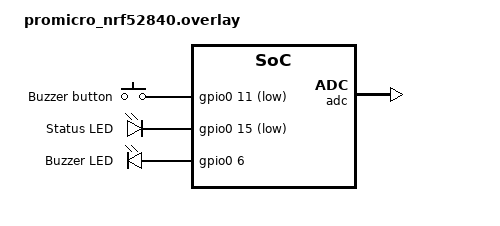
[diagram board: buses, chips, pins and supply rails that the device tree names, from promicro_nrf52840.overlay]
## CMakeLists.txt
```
# CMakeLists.txt for Quiz Buzzer Firmware
cmake_minimum_required(VERSION 3.20.0)

find_package(Zephyr REQUIRED HINTS $ENV{ZEPHYR_BASE})
project(quiz_buzzer_firmware)

target_sources(app PRIVATE 
    src/main.c
    src/buzzer_service.c
    src/button.c
    src/led.c
    src/battery.c
)

target_include_directories(app PRIVATE src)
```

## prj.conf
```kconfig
# Zephyr Project Configuration for Quiz Buzzer

# Enable Bluetooth
CONFIG_BT=y
CONFIG_BT_PERIPHERAL=y

# Use Nordic SoftDevice Controller (required for Nice!Nano with S140)
CONFIG_BT_LL_SOFTDEVICE=y

# BLE Settings
CONFIG_BT_GATT_AUTO_SEC_REQ=n
CONFIG_BT_PRIVACY=n
CONFIG_BT_MAX_CONN=1
CONFIG_BT_MAX_PAIRED=1

# Connection parameters for low latency
CONFIG_BT_PERIPHERAL_PREF_MIN_INT=8
CONFIG_BT_PERIPHERAL_PREF_MAX_INT=12
CONFIG_BT_PERIPHERAL_PREF_LATENCY=0
CONFIG_BT_PERIPHERAL_PREF_TIMEOUT=400

# Battery service (BLE standard battery reporting)
CONFIG_BT_BAS=y

# GPIO
CONFIG_GPIO=y

# ==================== POWER MANAGEMENT (Battery Efficiency) ====================

# Enable DC/DC regulator for much better power efficiency
# Note: On nRF52840, DCDC is enabled via board config or devicetree
# The promicro_nrf52840 board should have this enabled by default

# Enable system power management
CONFIG_PM=y

# Low power BLE settings
CONFIG_BT_CONN_TX_MAX=3

# ==================== ADC for Battery Monitoring ====================

# Enable ADC driver
CONFIG_ADC=y
CONFIG_ADC_NRFX_SAADC=y
CONFIG_ADC_ASYNC=n

# System
CONFIG_SYSTEM_WORKQUEUE_STACK_SIZE=2048
CONFIG_MAIN_STACK_SIZE=2048

# Logging (minimal - only errors and warnings)
CONFIG_LOG=y
CONFIG_LOG_DEFAULT_LEVEL=2
CONFIG_PRINTK=y
CONFIG_CONSOLE=y
CONFIG_UART_CONSOLE=y
CONFIG_EARLY_CONSOLE=y

# Bluetooth logging - warnings only (disable debug)
CONFIG_BT_LOG_LEVEL_WRN=y

# Build output - Generate UF2 for bootloader flashing
CONFIG_BUILD_OUTPUT_UF2=y

# Enable dynamic Bluetooth device name (required for bt_set_name to work)
CONFIG_BT_DEVICE_NAME_DYNAMIC=y
CONFIG_BT_DEVICE_NAME_MAX=30
CONFIG_BT_DEVICE_NAME="Gravitee Quiz Buzzer"
```

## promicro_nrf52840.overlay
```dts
/*
 * Device tree overlay for Quiz Buzzer on Nice!Nano / Pro Micro nRF52840
 */

/* Enable DC/DC regulator for power efficiency */
&reg1 {
	regulator-initial-mode = <NRF5X_REG_MODE_DCDC>;
};

/ {
	aliases {
		sw0 = &button0;
		led0 = &status_led;   /* Onboard blue LED (P0.15) for status indication */
		led1 = &buzzer_led;   /* External white LED (P0.06) for buzzer illumination */
	};

	buttons {
		compatible = "gpio-keys";
		button0: button_0 {
			gpios = <&gpio0 11 (GPIO_PULL_UP | GPIO_ACTIVE_LOW)>;
			label = "Buzzer button";
		};
	};

	leds {
		compatible = "gpio-leds";
		/* Onboard red LED on P0.15 for connection status */
		status_led: led_0 {
			gpios = <&gpio0 15 GPIO_ACTIVE_LOW>;
			label = "Status LED";
		};
		/* External white LED on P0.06 (pin 1) for buzzer illumination */
		buzzer_led: led_1 {
			gpios = <&gpio0 6 GPIO_ACTIVE_HIGH>;
			label = "Buzzer LED";
		};
	};

	/* Battery voltage divider for 18650 Li-ion (4.2V max)
	 * Use voltage divider: VBAT -> 1M -> ADC_IN -> 1M -> GND
	 * This gives VBAT/2 to the ADC input (max ~2.1V which is safe for nRF52840)
	 * Connect voltage divider output to P0.31 (AIN7)
	 */
};

/* Enable ADC for battery measurement */
&adc {
	status = "okay";
};
```

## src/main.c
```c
/**
 * Main firmware file for Quiz Buzzer
 * NRF52840 BLE Controller
 * 
 * Optimized for low power with 18650 Li-ion battery
 */

#include <zephyr/kernel.h>
#include <zephyr/bluetooth/bluetooth.h>
#include <zephyr/bluetooth/conn.h>
#include <zephyr/bluetooth/gatt.h>
#include <zephyr/bluetooth/uuid.h>
#include <zephyr/device.h>
#include <zephyr/drivers/gpio.h>
#include <zephyr/pm/pm.h>
#include <zephyr/pm/device.h>

#include "config.h"
#include "buzzer_service.h"
#include "button.h"
#include "led.h"
#include "battery.h"

#define LED_FLASH_DURATION_MS    50   /* Short flash duration */
#define LED_BLINK_DISCONNECTED_MS 2000  /* 2 seconds when disconnected (slower = less power) */
#define LED_BLINK_CONNECTED_MS   5000  /* 5 seconds when connected (very slow) */

/* Connection handle */
static struct bt_conn *current_conn = NULL;

/* Advertising data */
static const struct bt_data ad[] = {
    BT_DATA_BYTES(BT_DATA_FLAGS, (BT_LE_AD_GENERAL | BT_LE_AD_NO_BREDR)),
    BT_DATA_BYTES(BT_DATA_UUID128_ALL, BT_UUID_BUZZER_SERVICE_VAL),
};

/* Status LED (onboard blue LED on P0.15) */
static const struct gpio_dt_spec status_led = GPIO_DT_SPEC_GET(DT_ALIAS(led0), gpios);

/* Buzzer LED (external white LED on P0.06) */
static const struct gpio_dt_spec buzzer_led = GPIO_DT_SPEC_GET(DT_ALIAS(led1), gpios);

/* Timer for LED blinking */
static struct k_timer led_timer;
static bool connection_status = false;

/* Work queue for LED flash (can't use k_sleep in timer handler) */
static struct k_work led_flash_work;

/* Work queue for 3 quick flashes when button pressed while disconnected */
static struct k_work led_triple_flash_work;

/* Work queue for advertising restart (can't do BT ops in disconnect callback) */
static struct k_work adv_restart_work;

/* Forward declarations */
static void update_connection_status(bool connected);
static int start_advertising(void);

/* Connection callbacks */
static void connected(struct bt_conn *conn, uint8_t err)
{
    if (err) {
        printk("Connection failed (err %u)\n", err);
        return;
    }

    printk("Connected\n");
    current_conn = bt_conn_ref(conn);
    update_connection_status(true);
    
    /* Blink buzzer LED 5 times quickly to indicate successful connection */
    for (int i = 0; i < 5; i++) {
        gpio_pin_set_dt(&buzzer_led, 1);
        k_sleep(K_MSEC(100));
        gpio_pin_set_dt(&buzzer_led, 0);
        k_sleep(K_MSEC(100));
    }
}

static void disconnected(struct bt_conn *conn, uint8_t reason)
{
    printk("Disconnected (reason %u)\n", reason);

    if (current_conn) {
        bt_conn_unref(current_conn);
        current_conn = NULL;
    }

    update_connection_status(false);

    /* Schedule advertising restart - must be done outside BT callback context */
    k_work_submit(&adv_restart_work);
}

BT_CONN_CB_DEFINE(conn_callbacks) = {
    .connected = connected,
    .disconnected = disconnected,
};

/* Work handler for advertising restart */
static void adv_restart_work_handler(struct k_work *work)
{
    ARG_UNUSED(work);
    int err;

    printk("Restarting advertising from work queue...\n");

    /* Small delay to let BT stack settle */
    k_sleep(K_MSEC(100));
    
    err = start_advertising();
    if (err && err != -EALREADY) {
        printk("Failed to restart advertising (err %d)\n", err);
    } else {
        printk("Advertising restarted successfully\n");
    }
}

/* Start advertising */
static int start_advertising(void)
{
    struct bt_le_adv_param adv_param = {
        .id = BT_ID_DEFAULT,
        .options = BT_LE_ADV_OPT_CONN | BT_LE_ADV_OPT_USE_NAME,
        .interval_min = ADV_INTERVAL_MIN,
        .interval_max = ADV_INTERVAL_MAX,
    };

    int err = bt_le_adv_start(&adv_param, ad, ARRAY_SIZE(ad), NULL, 0);
    if (err == -EALREADY) {
        printk("Advertising already active\n");
        return 0;
    }
    if (err) {
        printk("Advertising failed to start (err %d)\n", err);
        return err;
    }

    printk("Advertising started\n");
    return 0;
}

/* Button press callback */
static void button_pressed_callback(bool pressed)
{
    printk("Button %s\n", pressed ? "PRESSED" : "RELEASED");
    
    /* Only act on button press (push down), not release */
    if (!pressed) {
        return;
    }
    
    if (current_conn) {
        printk("Sending button press to BLE client\n");
        buzzer_service_send_button_state(pressed);
    } else {
        /* When disconnected: 3 quick flashes */
        printk("No BLE connection - triggering 3 quick flashes\n");
        k_work_submit(&led_triple_flash_work);
    }
}

/* LED flash work handler - runs in system workqueue context where k_sleep is allowed */
static void led_flash_work_handler(struct k_work *work)
{
    ARG_UNUSED(work);
    
    /* Short flash ON for status LED
     * Status LED is active-low hardware:
     * gpio_pin_set(port, pin, 0) = pin LOW = LED ON
     * gpio_pin_set(port, pin, 1) = pin HIGH = LED OFF
     */
    gpio_pin_set(status_led.port, status_led.pin, 0);  /* ON (low) */
    
    /* Also flash buzzer LED when disconnected (active-high, so 1=ON) */
    if (!connection_status) {
        gpio_pin_set_dt(&buzzer_led, 1);  /* ON */
    }
    
    k_sleep(K_MSEC(LED_FLASH_DURATION_MS));
    
    gpio_pin_set(status_led.port, status_led.pin, 1);  /* OFF (high) */
    if (!connection_status) {
        gpio_pin_set_dt(&buzzer_led, 0);  /* OFF */
    }
}

/* LED triple flash work handler - 3 quick flashes when button pressed while disconnected */
static void led_triple_flash_work_handler(struct k_work *work)
{
    ARG_UNUSED(work);
    
    for (int i = 0; i < 3; i++) {
        gpio_pin_set_dt(&buzzer_led, 1);  /* ON */
        k_sleep(K_MSEC(100));
        gpio_pin_set_dt(&buzzer_led, 0);  /* OFF */
        if (i < 2) {
            k_sleep(K_MSEC(100));  /* Gap between flashes, but not after the last one */
        }
    }
}

/* LED timer handler - just schedules work, can't sleep in timer context */
static void led_timer_handler(struct k_timer *timer)
{
    ARG_UNUSED(timer);
    
    /* Schedule the flash work - this runs in thread context where k_sleep is OK */
    k_work_submit(&led_flash_work);
}

static void update_connection_status(bool connected)
{
    connection_status = connected;
    
    /* Stop current timer and restart with appropriate interval */
    k_timer_stop(&led_timer);
    
    if (connected) {
        /* Slow blink when connected (every 3 seconds) */
        k_timer_start(&led_timer, K_MSEC(LED_BLINK_CONNECTED_MS), K_MSEC(LED_BLINK_CONNECTED_MS));
        printk("Status LED: connected mode (3s interval)\n");
    } else {
        /* Fast blink when disconnected (every 1 second) */
        k_timer_start(&led_timer, K_MSEC(LED_BLINK_DISCONNECTED_MS), K_MSEC(LED_BLINK_DISCONNECTED_MS));
        printk("Status LED: disconnected mode (1s interval)\n");
    }
}

/* Set Bluetooth device name based on buzzer ID - must be called AFTER bt_enable() */
static void set_bt_device_name(void)
{
    int err = bt_set_name(DEVICE_NAME);
    if (err) {
        printk("Failed to set Bluetooth device name: %d\n", err);
    } else {
        printk("Bluetooth device name set to: %s\n", DEVICE_NAME);
        const char *current_name = bt_get_name();
        printk("Current Bluetooth device name: %s\n", current_name);
    }
}

/* Main function */
int main(void)
{
    int err;

    printk("Starting Quiz Buzzer Firmware (Buzzer ID: %d)\n", BUZZER_ID);

    /* Initialize status LED first (onboard blue LED) - start OFF */
    if (!device_is_ready(status_led.port)) {
        printk("Status LED device not ready\n");
        return -1;
    }
    gpio_pin_configure_dt(&status_led, GPIO_OUTPUT);  /* Configure as output */
    gpio_pin_set(status_led.port, status_led.pin, 1);  /* Start OFF (high = LED off for active-low) */
    printk("Status LED initialized on P0.15 (OFF)\n");

    /* Initialize buzzer LED (external white LED) */
    if (!device_is_ready(buzzer_led.port)) {
        printk("Buzzer LED device not ready\n");
        return -1;
    }
    gpio_pin_configure_dt(&buzzer_led, GPIO_OUTPUT_INACTIVE);
    printk("Buzzer LED initialized on P0.06\n");

    /* Initialize LED module (for led_on/led_off functions) */
    err = led_init();
    if (err) {
        printk("LED init failed (err %d)\n", err);
        return err;
    }

    /* Test buzzer LED at startup */
    printk("Testing Buzzer LED...\n");
    gpio_pin_set_dt(&buzzer_led, 1);
    k_sleep(K_MSEC(500));
    gpio_pin_set_dt(&buzzer_led, 0);
    printk("Buzzer LED test complete\n");

    /* Startup LED sequence - blink status LED 5 times to confirm flash worked */
    printk("Startup LED sequence...\n");
    for (int i = 0; i < 5; i++) {
        gpio_pin_set(status_led.port, status_led.pin, 0);  /* ON (low) */
        k_sleep(K_MSEC(100));
        gpio_pin_set(status_led.port, status_led.pin, 1);  /* OFF (high) */
        k_sleep(K_MSEC(100));
    }
    printk("Startup LED sequence complete\n");

    /* Initialize button */
    err = button_init(button_pressed_callback);
    if (err) {
        printk("Button init failed (err %d) - continuing without button\n", err);
    }

    /* Enable Bluetooth */
    err = bt_enable(NULL);
    if (err) {
        printk("Bluetooth init failed (err %d)\n", err);
        return err;
    }

    printk("Bluetooth initialized\n");

    /* Set Bluetooth device name - MUST be called AFTER bt_enable() */
    set_bt_device_name();

    /* Initialize buzzer service */
    err = buzzer_service_init();
    if (err) {
        printk("Buzzer service init failed (err %d)\n", err);
        return err;
    }

    /* Initialize battery monitoring AFTER BLE is ready
     * This ensures bt_bas_set_battery_level() works correctly
     */
    err = battery_init();
    if (err) {
        printk("Battery init failed (err %d) - continuing without battery monitoring\n", err);
    }

    /* Start advertising */
    err = start_advertising();
    if (err) {
        return err;
    }

    /* Initialize work queues and LED timer */
    k_work_init(&led_flash_work, led_flash_work_handler);
    k_work_init(&led_triple_flash_work, led_triple_flash_work_handler);
    k_work_init(&adv_restart_work, adv_restart_work_handler);
    k_timer_init(&led_timer, led_timer_handler, NULL);
    k_timer_start(&led_timer, K_MSEC(LED_BLINK_DISCONNECTED_MS), K_MSEC(LED_BLINK_DISCONNECTED_MS));

    printk("Quiz Buzzer ready - advertising as: %s\n", bt_get_name());

    /* Main loop - use longer sleep for power efficiency
     * The system will wake on:
     * - BLE events (connection, disconnection)
     * - Button press interrupts
     * - Timer expiry (LED blink)
     */
    while (1) {
        /* Sleep for 10 seconds - Zephyr will enter low power mode
         * Events (BLE, GPIO interrupts, timers) will wake the CPU
         */
        k_sleep(K_SECONDS(10));
        
        /* Update battery level periodically (rate-limited in battery_update) */
        battery_update();
    }

    return 0;
}
```

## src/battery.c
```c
/**
 * Battery monitoring implementation for Nice!Nano / Pro Micro nRF52840
 * 
 * Uses the nRF52840's internal VDDHDIV5 channel which measures VDDH/5.
 * This is the correct approach for boards where the battery connects
 * directly to VDDH (like Nice!Nano V2).
 * 
 * Based on ZMK's battery_nrf_vddh driver:
 * https://github.com/zmkfirmware/zmk/blob/main/app/module/drivers/sensor/battery/battery_nrf_vddh.c
 */

#include <zephyr/kernel.h>
#include <zephyr/device.h>
#include <zephyr/devicetree.h>
#include <zephyr/drivers/adc.h>
#include <zephyr/bluetooth/services/bas.h>

#include "config.h"
#include "battery.h"

/* VDDHDIV5: internal channel that measures VDDH divided by 5 */
#define VDDHDIV 5

/* ADC device */
#define ADC_NODE DT_NODELABEL(adc)
static const struct device *adc_dev = DEVICE_DT_GET(ADC_NODE);

/* ADC channel configuration for VDDHDIV5
 * Using 1/2 gain with internal 0.6V reference:
 * Full scale = 0.6V * 2 = 1.2V at ADC input
 * VDDHDIV5 input = VDDH / 5
 * So max VDDH we can measure = 1.2V * 5 = 6V (plenty for 4.2V Li-ion)
 */
static struct adc_channel_cfg adc_cfg = {
    .gain = ADC_GAIN_1_2,
    .reference = ADC_REF_INTERNAL,
    .acquisition_time = ADC_ACQ_TIME(ADC_ACQ_TIME_MICROSECONDS, 40),
    .channel_id = 0,  /* VDDHDIV5 uses channel 0 */
#if defined(CONFIG_ADC_NRFX_SAADC)
    .input_positive = SAADC_CH_PSELN_PSELN_VDDHDIV5,
#endif
};

/* ADC sample buffer and sequence */
static int16_t adc_raw;
static struct adc_sequence adc_seq = {
    .channels = BIT(0),
    .buffer = &adc_raw,
    .buffer_size = sizeof(adc_raw),
    .resolution = 12,
    .oversampling = 4,  /* 4x oversampling for better accuracy */
    .calibrate = true,  /* Calibrate on first read */
};

/* State */
static uint8_t battery_level = 100;
static int32_t battery_mv = 0;
static int64_t last_update_time = 0;
static bool adc_initialized = false;
static bool first_reading = true;

/**
 * Convert battery millivolts to percentage (0-100%)
 * Uses Li-ion discharge curve based on ZMK's implementation
 */
static uint8_t lithium_ion_mv_to_pct(int16_t bat_mv)
{
    /* Li-ion voltage thresholds */
    if (bat_mv >= 4200) {
        return 100;
    } else if (bat_mv <= 3450) {
        return 0;
    }

    /* Piece-wise linear approximation of Li-ion discharge curve */
    if (bat_mv >= 4100) {
        /* 4100-4200mV: 90-100% */
        return 90 + (bat_mv - 4100) / 10;
    } else if (bat_mv >= 4000) {
        /* 4000-4100mV: 70-90% */
        return 70 + (bat_mv - 4000) / 5;
    } else if (bat_mv >= 3850) {
        /* 3850-4000mV: 40-70% */
        return 40 + (bat_mv - 3850) * 30 / 150;
    } else if (bat_mv >= 3700) {
        /* 3700-3850mV: 20-40% */
        return 20 + (bat_mv - 3700) * 20 / 150;
    } else if (bat_mv >= 3550) {
        /* 3550-3700mV: 5-20% */
        return 5 + (bat_mv - 3550) * 15 / 150;
    } else {
        /* 3450-3550mV: 0-5% */
        return (bat_mv - 3450) * 5 / 100;
    }
}

int battery_init(void)
{
    int rc;
    
    if (!device_is_ready(adc_dev)) {
        printk("ADC device not ready, battery monitoring disabled\n");
        battery_level = 100;
        return 0;  /* Non-critical, continue without ADC */
    }

    /* Setup ADC channel for VDDHDIV5 */
    rc = adc_channel_setup(adc_dev, &adc_cfg);
    if (rc) {
        printk("ADC channel setup failed (err %d)\n", rc);
        battery_level = 100;
        return 0;  /* Non-critical */
    }

    adc_initialized = true;
    printk("Battery monitoring initialized (VDDHDIV5 internal channel)\n");
    printk("ADC: 1/2 gain, internal 0.6V ref, 12-bit, 4x oversampling\n");
    printk("VDDH range: 0-6V (divider=5), suitable for Li-ion 3.0-4.2V\n");
    
    /* Small delay for ADC to stabilize */
    k_sleep(K_MSEC(10));
    
    /* Force initial battery reading */
    last_update_time = 0;
    battery_update();
    
    printk("Initial battery: %dmV, %d%%\n", battery_mv, battery_level);
    
    return 0;
}

void battery_update(void)
{
    int rc;
    int64_t now = k_uptime_get();
    
    /* Skip if ADC not initialized */
    if (!adc_initialized) {
        return;
    }
    
    /* Rate limit updates (except for first reading) */
    if (!first_reading && 
        (now - last_update_time) < BATTERY_UPDATE_INTERVAL_MS) {
        return;
    }
    
    last_update_time = now;
    
    /* Perform ADC read */
    rc = adc_read(adc_dev, &adc_seq);
    
    /* Disable calibration after first read */
    adc_seq.calibrate = false;
    
    if (rc < 0) {
        printk("ADC read failed (err %d)\n", rc);
        return;
    }

    /* Convert raw ADC value to millivolts
     * 
     * Using adc_raw_to_millivolts() which:
     * 1. Takes the reference voltage (600mV internal)
     * 2. Accounts for the gain (1/2 gain -> multiply by 2)
     * 3. Converts based on resolution (12-bit = 4096)
     */
    int32_t val = adc_raw;
    rc = adc_raw_to_millivolts(adc_ref_internal(adc_dev), 
                               adc_cfg.gain,
                               adc_seq.resolution, 
                               &val);
    if (rc < 0) {
        printk("ADC conversion failed (err %d)\n", rc);
        return;
    }

    /* Multiply by VDDHDIV to get actual VDDH voltage */
    battery_mv = val * VDDHDIV;
    
    /* Convert to percentage */
    uint8_t new_level = lithium_ion_mv_to_pct(battery_mv);
    
    /* Apply some hysteresis to avoid constant small changes */
    int diff = (int)new_level - (int)battery_level;
    if (first_reading || diff >= 2 || diff <= -2) {
        battery_level = new_level;
    }
    
    /* Update BLE Battery Service */
    rc = bt_bas_set_battery_level(battery_level);
    if (rc && rc != -ENOTCONN) {
        printk("Failed to update BAS (err %d)\n", rc);
    }
    
    /* Debug output */
    printk("Battery: raw=%d, adc_mv=%d, vddh_mv=%d, level=%d%%\n",
           adc_raw, val, battery_mv, battery_level);
    
    first_reading = false;
}

uint8_t battery_get_level(void)
{
    return battery_level;
}

int32_t battery_get_voltage_mv(void)
{
    return battery_mv;
}
```

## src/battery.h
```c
/**
 * Battery monitoring module for 18650 Li-ion battery
 * 
 * Measures battery voltage via ADC with voltage divider on P0.31 (AIN7)
 */

#ifndef BATTERY_H
#define BATTERY_H

#include <zephyr/types.h>

/**
 * Initialize battery monitoring
 * Sets up ADC for battery voltage measurement
 * 
 * @return 0 on success, negative errno on failure
 */
int battery_init(void);

/**
 * Update battery level
 * Reads ADC and updates BLE battery service
 * Rate-limited to save power (default: every 5 minutes)
 */
void battery_update(void);

/**
 * Get current battery level percentage
 * 
 * @return Battery level (0-100%)
 */
uint8_t battery_get_level(void);

/**
 * Get raw battery voltage in millivolts
 * Useful for debugging and calibration
 * 
 * @return Battery voltage in mV, or -1 if ADC not available
 */
int32_t battery_get_voltage_mv(void);

#endif /* BATTERY_H */
```

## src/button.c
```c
/**
 * Button handling implementation with debouncing
 */

#include <zephyr/kernel.h>
#include <zephyr/device.h>
#include <zephyr/drivers/gpio.h>

#include "config.h"
#include "button.h"

#define BUTTON_NODE DT_ALIAS(sw0)

#if !DT_NODE_EXISTS(BUTTON_NODE)
/* Fallback to manual GPIO configuration if device tree alias doesn't exist */
#define BUTTON_GPIO_LABEL "GPIO_0"
#define BUTTON_GPIO_PIN BUTTON_PIN
#define BUTTON_GPIO_FLAGS (GPIO_INPUT | GPIO_PULL_UP)
#else
static const struct gpio_dt_spec button = GPIO_DT_SPEC_GET(BUTTON_NODE, gpios);
#endif

static struct gpio_callback button_cb_data;
static button_callback_t user_callback = NULL;

/* Debounce timer */
static struct k_timer debounce_timer;
static bool last_button_state = false;
static bool debounce_in_progress = false;

/* Debounce timer expiry callback */
static void debounce_timer_handler(struct k_timer *timer)
{
    ARG_UNUSED(timer);
    
    debounce_in_progress = false;
    
    /* Read actual button state after debounce period */
#if DT_NODE_EXISTS(BUTTON_NODE)
    /* gpio_pin_get_dt() already handles GPIO_ACTIVE_LOW flag:
     * Returns 1 when button is pressed (active), 0 when released */
    int raw_value = gpio_pin_get_dt(&button);
    bool current_state = (raw_value == 1);  /* 1 = pressed (active) */
    printk("Button debounce: raw=%d, state=%s\n", raw_value, current_state ? "pressed" : "released");
#else
    const struct device *gpio_dev = device_get_binding(BUTTON_GPIO_LABEL);
    int raw_value = gpio_pin_get(gpio_dev, BUTTON_GPIO_PIN);
    bool current_state = (raw_value == 0);  /* Manual config: active low, 0 = pressed */
    printk("Button debounce: raw=%d, state=%s\n", raw_value, current_state ? "pressed" : "released");
#endif
    
    /* Only trigger callback if state actually changed */
    if (current_state != last_button_state) {
        last_button_state = current_state;
        printk("Button state changed to: %s\n", current_state ? "PRESSED" : "RELEASED");
        
        if (user_callback) {
            user_callback(current_state);
        }
    }
}

/* GPIO interrupt handler */
static void button_pressed_handler(const struct device *dev, 
                                   struct gpio_callback *cb, 
                                   uint32_t pins)
{
    ARG_UNUSED(dev);
    ARG_UNUSED(cb);
    ARG_UNUSED(pins);
    
    printk("Button IRQ triggered! pins=0x%08x\n", pins);
    
    /* Start debounce timer if not already in progress */
    if (!debounce_in_progress) {
        debounce_in_progress = true;
        k_timer_start(&debounce_timer, K_MSEC(BUTTON_DEBOUNCE_MS), K_NO_WAIT);
        printk("Debounce timer started\n");
    }
}

int button_init(button_callback_t callback)
{
    int ret;
    
    if (!callback) {
        return -EINVAL;
    }
    
    user_callback = callback;

#if DT_NODE_EXISTS(BUTTON_NODE)
    /* Use device tree configuration */
    if (!device_is_ready(button.port)) {
        printk("Button device not ready\n");
        return -ENODEV;
    }

    ret = gpio_pin_configure_dt(&button, GPIO_INPUT);
    if (ret < 0) {
        printk("Failed to configure button pin\n");
        return ret;
    }

    ret = gpio_pin_interrupt_configure_dt(&button, GPIO_INT_EDGE_BOTH);
    if (ret < 0) {
        printk("Failed to configure button interrupt\n");
        return ret;
    }

    gpio_init_callback(&button_cb_data, button_pressed_handler, BIT(button.pin));
    gpio_add_callback(button.port, &button_cb_data);
#else
    /* Manual GPIO configuration - use modern API */
    const struct device *gpio_dev = DEVICE_DT_GET(DT_NODELABEL(gpio0));
    if (!device_is_ready(gpio_dev)) {
        printk("GPIO device not ready\n");
        return -ENODEV;
    }

    ret = gpio_pin_configure(gpio_dev, BUTTON_GPIO_PIN, BUTTON_GPIO_FLAGS);
    if (ret < 0) {
        printk("Failed to configure button pin\n");
        return ret;
    }

    ret = gpio_pin_interrupt_configure(gpio_dev, BUTTON_GPIO_PIN, GPIO_INT_EDGE_BOTH);
    if (ret < 0) {
        printk("Failed to configure button interrupt\n");
        return ret;
    }

    gpio_init_callback(&button_cb_data, button_pressed_handler, BIT(BUTTON_GPIO_PIN));
    gpio_add_callback(gpio_dev, &button_cb_data);
#endif

    /* Initialize debounce timer */
    k_timer_init(&debounce_timer, debounce_timer_handler, NULL);

#if DT_NODE_EXISTS(BUTTON_NODE)
    /* Read initial button state */
    int initial_state = gpio_pin_get_dt(&button);
    printk("Button initialized on P0.%d (pin=%d, initial_state=%d)\n", 
           button.pin, button.pin, initial_state);
#else
    printk("Button initialized on pin %d (manual config)\n", BUTTON_GPIO_PIN);
#endif
    
    return 0;
}
```

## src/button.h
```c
/**
 * Button handling module
 */

#ifndef BUTTON_H
#define BUTTON_H

#include <zephyr/types.h>

/**
 * Button press callback function type
 * 
 * @param pressed true when button is pressed, false when released
 */
typedef void (*button_callback_t)(bool pressed);

/**
 * Initialize button GPIO and configure interrupt
 * 
 * @param callback Function to call when button state changes
 * @return 0 on success, negative errno on failure
 */
int button_init(button_callback_t callback);

#endif /* BUTTON_H */
```

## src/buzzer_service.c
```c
/**
 * BLE GATT Service Implementation for Quiz Buzzer
 */

#include <zephyr/kernel.h>
#include <zephyr/bluetooth/bluetooth.h>
#include <zephyr/bluetooth/conn.h>
#include <zephyr/bluetooth/gatt.h>
#include <zephyr/bluetooth/uuid.h>

#include "config.h"
#include "buzzer_service.h"
#include "led.h"

/* Service UUID */
static struct bt_uuid_128 buzzer_service_uuid = BT_UUID_INIT_128(
    BT_UUID_BUZZER_SERVICE_VAL);

/* Characteristic UUIDs */
static struct bt_uuid_128 button_state_uuid = BT_UUID_INIT_128(
    BT_UUID_BUTTON_STATE_VAL);

static struct bt_uuid_128 led_control_uuid = BT_UUID_INIT_128(
    BT_UUID_LED_CONTROL_VAL);

static struct bt_uuid_128 buzzer_id_uuid = BT_UUID_INIT_128(
    BT_UUID_BUZZER_ID_VAL);

/* Characteristic values */
static uint8_t button_state = 0;
static uint8_t led_rgb[3] = {0, 0, 0};
static uint8_t buzzer_id = BUZZER_ID;

/* CCC (Client Characteristic Configuration) for notifications */
static uint8_t button_state_notify_enabled = 0;

/* Button state CCC changed callback */
static void button_state_ccc_changed(const struct bt_gatt_attr *attr, uint16_t value)
{
    button_state_notify_enabled = (value == BT_GATT_CCC_NOTIFY);
    printk("Button state notifications %s\n", 
           button_state_notify_enabled ? "enabled" : "disabled");
}

/* Button state read callback */
static ssize_t read_button_state(struct bt_conn *conn,
                                  const struct bt_gatt_attr *attr,
                                  void *buf, uint16_t len, uint16_t offset)
{
    return bt_gatt_attr_read(conn, attr, buf, len, offset, 
                            &button_state, sizeof(button_state));
}

/* LED control write callback */
static ssize_t write_led_control(struct bt_conn *conn,
                                  const struct bt_gatt_attr *attr,
                                  const void *buf, uint16_t len,
                                  uint16_t offset, uint8_t flags)
{
    if (offset != 0) {
        return BT_GATT_ERR(BT_ATT_ERR_INVALID_OFFSET);
    }

    if (len != 3) {
        return BT_GATT_ERR(BT_ATT_ERR_INVALID_ATTRIBUTE_LEN);
    }

    memcpy(led_rgb, buf, 3);
    
    /* Update LED */
    if (led_rgb[0] > 128 || led_rgb[1] > 128 || led_rgb[2] > 128) {
        led_on();
    } else {
        led_off();
    }
    printk("LED updated: %s\n", (led_rgb[0] > 128 || led_rgb[1] > 128 || led_rgb[2] > 128) ? "ON" : "OFF");

    return len;
}

/* LED control read callback */
static ssize_t read_led_control(struct bt_conn *conn,
                                 const struct bt_gatt_attr *attr,
                                 void *buf, uint16_t len, uint16_t offset)
{
    return bt_gatt_attr_read(conn, attr, buf, len, offset, 
                            led_rgb, sizeof(led_rgb));
}

/* Buzzer ID read callback */
static ssize_t read_buzzer_id(struct bt_conn *conn,
                               const struct bt_gatt_attr *attr,
                               void *buf, uint16_t len, uint16_t offset)
{
    return bt_gatt_attr_read(conn, attr, buf, len, offset, 
                            &buzzer_id, sizeof(buzzer_id));
}

/* GATT Service Definition */
BT_GATT_SERVICE_DEFINE(buzzer_service,
    BT_GATT_PRIMARY_SERVICE(&buzzer_service_uuid),
    
    /* Button State Characteristic */
    BT_GATT_CHARACTERISTIC(&button_state_uuid.uuid,
                          BT_GATT_CHRC_READ | BT_GATT_CHRC_NOTIFY,
                          BT_GATT_PERM_READ,
                          read_button_state, NULL, NULL),
    BT_GATT_CCC(button_state_ccc_changed, BT_GATT_PERM_READ | BT_GATT_PERM_WRITE),
    
    /* LED Control Characteristic */
    BT_GATT_CHARACTERISTIC(&led_control_uuid.uuid,
                          BT_GATT_CHRC_READ | BT_GATT_CHRC_WRITE,
                          BT_GATT_PERM_READ | BT_GATT_PERM_WRITE,
                          read_led_control, write_led_control, NULL),
    
    /* Buzzer ID Characteristic */
    BT_GATT_CHARACTERISTIC(&buzzer_id_uuid.uuid,
                          BT_GATT_CHRC_READ,
                          BT_GATT_PERM_READ,
                          read_buzzer_id, NULL, NULL),
);

int buzzer_service_init(void)
{
    printk("Buzzer service initialized\n");
    return 0;
}

int buzzer_service_send_button_state(bool pressed)
{
    button_state = pressed ? 1 : 0;
    
    if (!button_state_notify_enabled) {
        return -EACCES;
    }

    int err = bt_gatt_notify(NULL, &buzzer_service.attrs[1], 
                            &button_state, sizeof(button_state));
    if (err) {
        printk("Failed to send button notification (err %d)\n", err);
    }
    
    return err;
}
```

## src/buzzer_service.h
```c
/**
 * BLE GATT Service for Quiz Buzzer
 */

#ifndef BUZZER_SERVICE_H
#define BUZZER_SERVICE_H

#include <zephyr/types.h>

/**
 * Initialize the buzzer GATT service
 * 
 * @return 0 on success, negative errno on failure
 */
int buzzer_service_init(void);

/**
 * Send button state notification to connected client
 * 
 * @param pressed true if button is pressed, false otherwise
 * @return 0 on success, negative errno on failure
 */
int buzzer_service_send_button_state(bool pressed);

#endif /* BUZZER_SERVICE_H */
```

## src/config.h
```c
/**
 * Configuration file for Quiz Buzzer Firmware
 * 
 * Modify these settings based on your hardware setup and requirements
 */

#ifndef CONFIG_H
#define CONFIG_H

/* ==================== BUZZER IDENTIFICATION ==================== */
/**
 * Set buzzer ID: 1 for Green, 2 for Red
 * IMPORTANT: Flash different IDs to each buzzer
 */
#define BUZZER_ID 1  // Change to 2 for Red buzzer

/* Device name will be "Gravitee-Buzzer-Green" or "Gravitee-Buzzer-Red" */
#define DEVICE_NAME_GREEN "Gravitee Quiz Buzzer - Green"
#define DEVICE_NAME_RED   "Gravitee Quiz Buzzer - Red"

// Ensure the device name matches the buzzer ID
#if BUZZER_ID == 1
#define DEVICE_NAME DEVICE_NAME_GREEN
#elif BUZZER_ID == 2
#define DEVICE_NAME DEVICE_NAME_RED
#else
#error "Invalid BUZZER_ID. Must be 1 (Green) or 2 (Red)."
#endif

/* ==================== GPIO PIN CONFIGURATION ==================== */
/* Adjust these based on your actual hardware connections */

#define BUTTON_PIN          11  // P0.11 - Button input (active low)
#define BUTTON_DEBOUNCE_MS  50  // Debounce time in milliseconds

/* Status LED: Onboard blue LED on P0.15 (active low on Nice!Nano/promicro) */
#define STATUS_LED_PIN      15  // P0.15 - Onboard blue LED for connection status

/* Buzzer LED: External white LED for illuminating the buzzer button */
/* Connect: P0.06 (pin 1) -> 220 ohm resistor -> LED anode, LED cathode -> GND */
#define BUZZER_LED_PIN      6   // P0.06 - External white LED

/* ==================== BLE CONFIGURATION ==================== */

/* Custom Quiz Buzzer Service UUID: 6E400001-B5A3-F393-E0A9-E50E24DCCA9E */
#define BT_UUID_BUZZER_SERVICE_VAL \
    BT_UUID_128_ENCODE(0x6e400001, 0xb5a3, 0xf393, 0xe0a9, 0xe50e24dcca9e)

/* Button State Characteristic UUID: 6E400002-B5A3-F393-E0A9-E50E24DCCA9E */
#define BT_UUID_BUTTON_STATE_VAL \
    BT_UUID_128_ENCODE(0x6e400002, 0xb5a3, 0xf393, 0xe0a9, 0xe50e24dcca9e)

/* LED Control Characteristic UUID: 6E400003-B5A3-F393-E0A9-E50E24DCCA9E */
#define BT_UUID_LED_CONTROL_VAL \
    BT_UUID_128_ENCODE(0x6e400003, 0xb5a3, 0xf393, 0xe0a9, 0xe50e24dcca9e)

/* Buzzer ID Characteristic UUID: 6E400004-B5A3-F393-E0A9-E50E24DCCA9E */
#define BT_UUID_BUZZER_ID_VAL \
    BT_UUID_128_ENCODE(0x6e400004, 0xb5a3, 0xf393, 0xe0a9, 0xe50e24dcca9e)

/* BLE advertising interval (in 0.625ms units)
 * Slower advertising = lower power consumption
 * Fast advertising (20-40ms): ~1-2mA, good for quick discovery
 * Slow advertising (100-200ms): ~0.3-0.5mA, better for battery life
 * We use moderate interval for reasonable discovery time
 */
#define ADV_INTERVAL_MIN    0x0050  /* 50ms (80 * 0.625ms) */
#define ADV_INTERVAL_MAX    0x00A0  /* 100ms (160 * 0.625ms) */

/* Connection interval for low latency (in 1.25ms units) */
#define CONN_INTERVAL_MIN   8   // 10ms
#define CONN_INTERVAL_MAX   12  // 15ms

/* ==================== POWER MANAGEMENT ==================== */

/* LED timeout - automatically turn off LED after this time (ms) */
#define LED_AUTO_OFF_TIMEOUT_MS  5000  // 5 seconds

/* Button press notification timeout (ms) */
#define BUTTON_NOTIFICATION_TIMEOUT_MS  100  // 100ms

/* ==================== BATTERY MONITORING ==================== */
/* 18650 Li-ion battery with voltage divider (1M + 1M)
 * Battery voltage range: 3.0V (empty) to 4.2V (full)
 * After voltage divider: 1.5V to 2.1V at ADC input
 * ADC channel: AIN7 (P0.31)
 * 
 * Wiring: VBAT+ -> 1M resistor -> P0.31 -> 1M resistor -> GND
 */
#define BATTERY_ADC_CHANNEL     7       /* AIN7 = P0.31 */
#define BATTERY_DIVIDER_RATIO   2       /* Voltage divider 1:1 = ratio of 2 */

/* 18650 Li-ion voltage thresholds (in millivolts at battery) */
#define BATTERY_FULL_MV         4200    /* 4.2V = 100% (fully charged) */
#define BATTERY_NOMINAL_MV      3700    /* 3.7V = ~50% (nominal voltage) */
#define BATTERY_LOW_MV          3400    /* 3.4V = ~20% (low battery warning) */
#define BATTERY_EMPTY_MV        3000    /* 3.0V = 0% (cutoff to protect battery) */

/* Battery update interval - less frequent saves power */
#define BATTERY_UPDATE_INTERVAL_MS  300000  /* 5 minutes (was 1 minute) */

#endif /* CONFIG_H */
```

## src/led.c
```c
/**
 * LED control implementation
 * Simple on/off control using a single GPIO pin (P0.13)
 */

#include <zephyr/kernel.h>
#include <zephyr/device.h>
#include <zephyr/drivers/gpio.h>

#include "config.h"
#include "led.h"

/* Use direct GPIO reference */
#define LED_GPIO_PORT DT_NODELABEL(gpio0)
static const struct device *gpio_dev = NULL;

/* Auto-off timer for power saving */
static struct k_timer led_auto_off_timer;
/* Commented out unused variable to suppress warning */
// static bool auto_off_enabled = false;

/* Timer callback to turn off LED */
static void led_auto_off_handler(struct k_timer *timer)
{
    ARG_UNUSED(timer);
    led_off();
}

int led_init(void)
{
    int ret;

    /* Get GPIO device */
    gpio_dev = DEVICE_DT_GET(LED_GPIO_PORT);
    if (!device_is_ready(gpio_dev)) {
        printk("GPIO device not ready\n");
        return -ENODEV;
    }

    /* Configure LED pin as output, initially off */
    ret = gpio_pin_configure(gpio_dev, BUZZER_LED_PIN, GPIO_OUTPUT_INACTIVE);
    if (ret < 0) {
        printk("Failed to configure LED pin %d\n", BUZZER_LED_PIN);
        return ret;
    }

    /* Initialize auto-off timer */
    k_timer_init(&led_auto_off_timer, led_auto_off_handler, NULL);

    printk("LED initialized on pin P0.%d\n", BUZZER_LED_PIN);
    return 0;
}

void led_on(void)
{
    if (gpio_dev) {
        gpio_pin_set(gpio_dev, BUZZER_LED_PIN, 1);
    }
}

void led_off(void)
{
    if (gpio_dev) {
        gpio_pin_set(gpio_dev, BUZZER_LED_PIN, 0);
    }
}
```

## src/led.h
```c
/**
 * LED control module
 */

#ifndef LED_H
#define LED_H

#include <zephyr/types.h>

/**
 * Initialize LED GPIO pins
 * 
 * @return 0 on success, negative errno on failure
 */
int led_init(void);

/**
 * Turn on LED
 */
void led_on(void);

/**
 * Turn off LED
 */
void led_off(void);

#endif /* LED_H */
```
